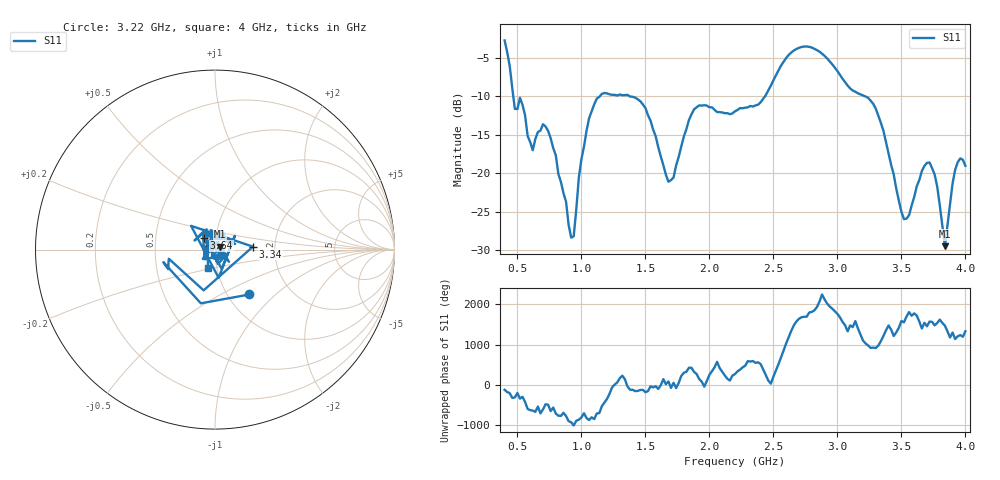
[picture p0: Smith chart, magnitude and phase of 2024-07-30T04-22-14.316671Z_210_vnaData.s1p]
!Created with skrf (http://scikit-rf.org).
# Hz S RI R 50.0
!freq ReS11 ImS11
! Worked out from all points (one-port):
!   181 points, 400 MHz to 4 GHz, reference 50 ohm
!   lowest |S11| = -29.5 dB at 3.84 GHz (marker M1), VSWR 1.07, Z = 53 + j1.72 ohm
!   |S11| at or under -10 dB: 467.8 MHz to 1.143 GHz (675.7 MHz wide, 83.9 % of centre); 1.378 GHz to 2.434 GHz (1.056 GHz wide, 55.4 % of centre); 3.217 GHz to end of sweep
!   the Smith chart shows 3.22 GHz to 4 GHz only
!   S11 on the Smith chart (normalised r, x): 3.22 GHz: 1.26, -0.70; 3.34 GHz: 1.54, +0.05; 3.64 GHz: 0.88, +0.12; 4 GHz: 0.91, -0.19
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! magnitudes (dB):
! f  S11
! 400 MHz  -2.7
! 480 MHz  -11.6
! 520 MHz  -10.2
! 620 MHz  -17.0
! 720 MHz  -13.9
! 860 MHz  -22.6
! 940 MHz  -28.2
! 980 MHz  -20.6
! 1.06 GHz  -12.9
! 1.3 GHz  -9.8
! 1.5 GHz  -11.5
! 1.68 GHz  -21.1
! 1.76 GHz  -17.9
! 1.9 GHz  -11.4
! 2.2 GHz  -12.0
! 2.4 GHz  -10.8
! 2.66 GHz  -4.0
! 2.86 GHz  -4.2
! 3.1 GHz  -9.0
! 3.22 GHz  -10.0
! 3.34 GHz  -13.5
! 3.5 GHz  -25.0
! 3.56 GHz  -25.5
! 3.64 GHz  -20.9
! 3.76 GHz  -20.2
! 3.84 GHz  -29.5
! 3.92 GHz  -19.6
! 4 GHz  -19.0
